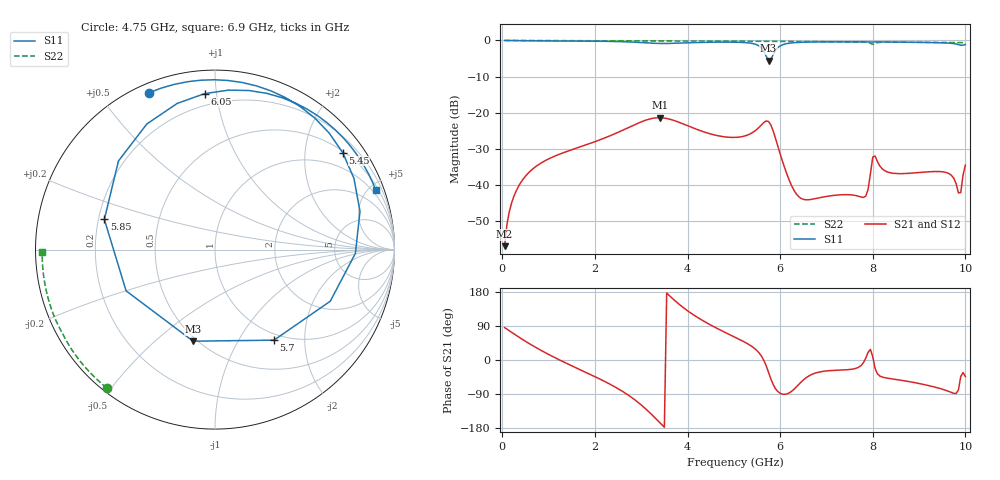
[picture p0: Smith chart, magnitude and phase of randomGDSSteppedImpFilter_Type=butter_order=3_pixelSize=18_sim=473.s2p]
! freq	dB(S11)	phase(S11)	dB(S12)	phase(S12)
!  dB(S21)	phase(S21)	dB(S22)	phase(S22)
!S-par simulation data
#  GHz  S  DB  R 50
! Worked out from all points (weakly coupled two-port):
!   200 points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, 50 MHz to 10 GHz, reference 50 ohm
!   highest |S21| = -21.35 dB at 3.4 GHz (marker M1); lowest = -56.8 dB at 50 MHz (marker M2)
!   lowest |S11| = -5.6 dB at 5.75 GHz (marker M3), VSWR 3.21, Z = 23.8 - j33.6 ohm
!   |S11| at or under -10 dB: nowhere
!   |S22| runs from -1.1 to 0.0 dB; largest |S21 - S12| = 0
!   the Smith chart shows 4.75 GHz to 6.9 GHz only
!   S11 on the Smith chart (normalised r, x): 4.75 GHz: 0.04, +0.66; 5.45 GHz: 0.54, +2.88; 5.7 GHz: 0.90, -1.43; 5.85 GHz: 0.22, +0.13; 6.05 GHz: 0.13, +0.93; 6.9 GHz: 0.72, +5.45
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0.05  -0.01 -6.9  -56.83 85.6  -56.83 85.6  -0.00 -1.5
0.25  -0.05 -34.0  -43.06 69.1  -43.06 69.1  -0.01 -7.5
0.75  -0.11 -95.0  -34.59 31.3  -34.59 31.3  -0.03 -22.3
1.75  -0.18 170.7  -29.10 -29.5  -29.10 -29.5  -0.07 -51.2
2.7  -0.39 74.3  -24.21 -91.0  -24.21 -91.0  -0.11 -77.1
3.1  -0.65 9.3  -22.01 -129.4  -22.01 -129.4  -0.14 -87.5
3.4  -0.83 -53.9  -21.35 -165.1  -21.35 -165.1  -0.16 -95.1
3.65  -0.81 -106.5  -21.87 165.1  -21.87 165.1  -0.16 -101.3
4  -0.64 -165.3  -23.55 130.0  -23.55 130.0  -0.17 -109.9
4.75  -0.46 112.9  -26.54 76.5  -26.54 76.5  -0.19 -128.0
5.05  -0.49 85.6  -26.77 58.6  -26.77 58.6  -0.21 -135.2
5.45  -0.98 37.2  -25.04 30.1  -25.04 30.1  -0.23 -144.6
5.6  -2.13 -1.5  -23.26 9.4  -23.26 9.4  -0.25 -148.2
5.7  -4.41 -56.9  -22.23 -15.8  -22.23 -15.8  -0.27 -150.5
5.75  -5.60 -103.5  -22.40 -32.7  -22.40 -32.7  -0.27 -151.6
5.85  -3.89 164.7  -25.03 -64.8  -25.03 -64.8  -0.27 -153.9
6.05  -1.20 93.8  -33.36 -90.2  -33.36 -90.2  -0.26 -158.6
6.7  -0.43 31.8  -43.84 -37.2  -43.84 -37.2  -0.31 -174.2
6.9  -0.40 20.4  -43.32 -30.5  -43.32 -30.5  -0.33 -179.1
8.35  -0.43 -40.9  -36.46 -48.6  -36.46 -48.6  -0.47 144.9
9.85  -1.15 -89.2  -42.13 -79.0  -42.13 -79.0  -0.57 100.7
10  -1.11 -89.2  -34.43 -43.7  -34.43 -43.7  -0.60 95.9
